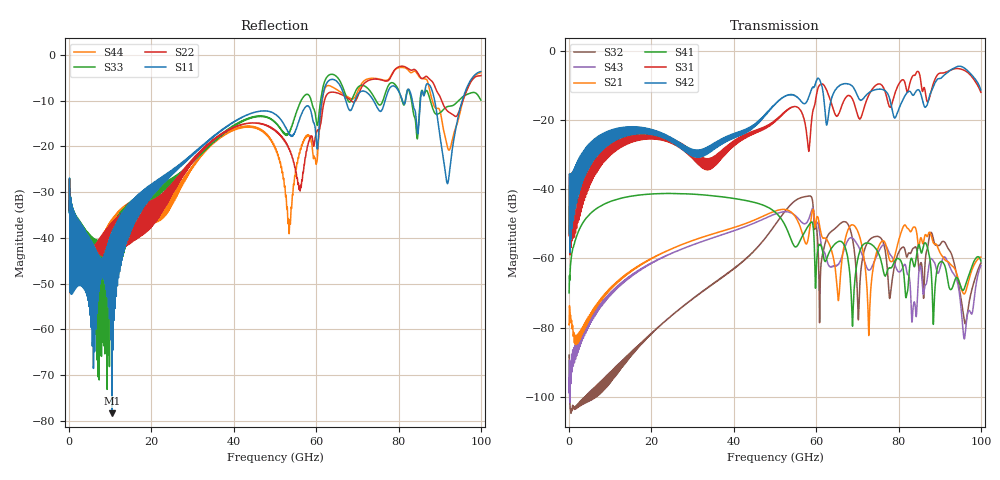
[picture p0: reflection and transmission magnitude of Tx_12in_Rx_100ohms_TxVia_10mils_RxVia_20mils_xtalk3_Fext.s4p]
! Info: Touchstone file created by Circ.  Input file=Tx_12in_Rx_100ohms_TxVia_10mils_RxVia_20mils.circ
# Hz S RI R 50
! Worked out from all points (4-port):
!   10000 points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, 10 MHz to 100 GHz, reference 50 ohm
!   strongest paths, dB at 10 MHz, 25.01 GHz, 50.01 GHz, 75.01 GHz, 100 GHz:
!     S42: -52.8, -26.0, -15.3, -11.1, -11.3
!     S31: -53.4, -26.4, -20.2, -9.7, -12.0
!     S41: -70.0, -41.2, -46.6, -58.2, -60.8
!     S21: -79.1, -57.1, -46.3, -57.1, -59.7
!     S43: -94.4, -58.4, -47.2, -58.4, -62.1
!     S32: -87.9, -76.4, -50.3, -53.7, -61.3
!   lowest |S11| = -78.3 dB at 10.37 GHz (marker M1), VSWR 1.00, Z = 50 - j0.00713 ohm
!   |S11| at or under -10 dB: start of sweep to 61.39 GHz; 73.91 GHz to 76.75 GHz (2.84 GHz wide, 3.77 % of centre); 88.77 GHz to 95.48 GHz (6.709 GHz wide, 7.28 % of centre)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
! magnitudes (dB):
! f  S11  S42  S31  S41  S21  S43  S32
! 10 MHz  -34.5  -52.8  -53.4  -70.0  -79.1  -94.4  -87.9
! 10.37 GHz  -78.3  -22.8  -23.9  -43.4  -68.6  -70.1  -92.9
! 57.79 GHz  -11.2  -14.5  -25.0  -51.2  -55.6  -49.6  -42.0
! 70.26 GHz  -8.5  -13.6  -19.2  -59.3  -52.6  -56.5  -77.7
! 72.81 GHz  -8.7  -12.1  -12.8  -55.6  -82.0  -63.4  -54.8
! 91.87 GHz  -28.2  -6.3  -6.0  -65.7  -60.8  -60.8  -56.8
! 100 GHz  -3.7  -11.3  -12.0  -60.8  -59.7  -62.1  -61.3
